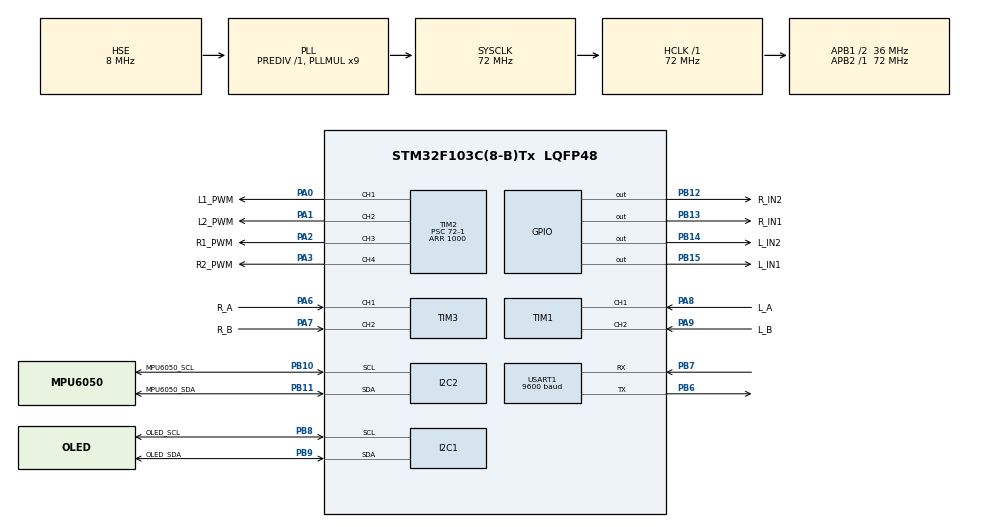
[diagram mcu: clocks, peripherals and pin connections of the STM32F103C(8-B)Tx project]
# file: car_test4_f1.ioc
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Mcu.Family=STM32F1
Mcu.Name=STM32F103C(8-B)Tx
Mcu.Package=LQFP48
NVIC.PriorityGroup=NVIC_PRIORITYGROUP_4
NVIC.TIM4_IRQn=true\:0\:0\:false\:false\:true\:true\:true\:true
NVIC.USART1_IRQn=true\:0\:0\:false\:false\:true\:true\:true\:true
PA0-WKUP.GPIO_Label=L1_PWM
PA0-WKUP.Signal=S_TIM2_CH1_ETR
PA1.GPIO_Label=L2_PWM
PA1.Signal=S_TIM2_CH2
PA13.Mode=Serial_Wire
PA13.Signal=SYS_JTMS-SWDIO
PA14.Mode=Serial_Wire
PA14.Signal=SYS_JTCK-SWCLK
PA2.GPIO_Label=R1_PWM
PA2.Signal=S_TIM2_CH3
PA3.GPIO_Label=R2_PWM
PA3.Signal=S_TIM2_CH4
PA6.GPIO_Label=R_A
PA6.Signal=S_TIM3_CH1
PA7.GPIO_Label=R_B
PA7.Signal=S_TIM3_CH2
PA8.GPIO_Label=L_A
PA8.Signal=S_TIM1_CH1
PA9.GPIO_Label=L_B
PA9.Signal=S_TIM1_CH2
PB10.GPIO_Label=MPU6050_SCL
PB10.Mode=I2C
PB10.Signal=I2C2_SCL
PB11.GPIO_Label=MPU6050_SDA
PB11.Mode=I2C
PB11.Signal=I2C2_SDA
PB12.GPIO_Label=R_IN2
PB12.Signal=GPIO_Output
PB13.GPIO_Label=R_IN1
PB13.Signal=GPIO_Output
PB14.GPIO_Label=L_IN2
PB14.Signal=GPIO_Output
PB15.GPIO_Label=L_IN1
PB15.Signal=GPIO_Output
PB6.Mode=Asynchronous
PB6.Signal=USART1_TX
PB7.Mode=Asynchronous
PB7.Signal=USART1_RX
PB8.GPIO_Label=OLED_SCL
PB8.Mode=I2C
PB8.Signal=I2C1_SCL
PB9.GPIO_Label=OLED_SDA
PB9.Mode=I2C
PB9.Signal=I2C1_SDA
PD0-OSC_IN.Mode=HSE-External-Oscillator
PD0-OSC_IN.Signal=RCC_OSC_IN
PD1-OSC_OUT.Mode=HSE-External-Oscillator
PD1-OSC_OUT.Signal=RCC_OSC_OUT
ProjectManager.HeapSize=0x200
ProjectManager.StackSize=0x400
ProjectManager.TargetToolchain=CMake
RCC.AHBFreq_Value=72000000
RCC.APB1CLKDivider=RCC_HCLK_DIV2
RCC.APB1Freq_Value=36000000
RCC.APB1TimFreq_Value=72000000
RCC.APB2Freq_Value=72000000
RCC.APB2TimFreq_Value=72000000
RCC.HCLKFreq_Value=72000000
RCC.PLLMUL=RCC_PLL_MUL9
RCC.PLLSourceVirtual=RCC_PLLSOURCE_HSE
RCC.SYSCLKFreq_VALUE=72000000
RCC.SYSCLKSource=RCC_SYSCLKSOURCE_PLLCLK
RCC.USBFreq_Value=72000000
SH.S_TIM1_CH1.0=TIM1_CH1,Encoder_Interface
SH.S_TIM1_CH2.0=TIM1_CH2,Encoder_Interface
SH.S_TIM2_CH1_ETR.0=TIM2_CH1,PWM Generation1 CH1
SH.S_TIM2_CH2.0=TIM2_CH2,PWM Generation2 CH2
SH.S_TIM2_CH3.0=TIM2_CH3,PWM Generation3 CH3
SH.S_TIM2_CH4.0=TIM2_CH4,PWM Generation4 CH4
SH.S_TIM3_CH1.0=TIM3_CH1,Encoder_Interface
SH.S_TIM3_CH2.0=TIM3_CH2,Encoder_Interface
TIM1.IC1Filter=15
TIM2.Channel-PWM\ Generation1\ CH1=TIM_CHANNEL_1
TIM2.Channel-PWM\ Generation2\ CH2=TIM_CHANNEL_2
TIM2.Channel-PWM\ Generation3\ CH3=TIM_CHANNEL_3
TIM2.Channel-PWM\ Generation4\ CH4=TIM_CHANNEL_4
TIM2.Period=1000
TIM2.Prescaler=72-1
TIM3.IC1Filter=15
TIM4.Period=10000
TIM4.Prescaler=72-1
USART1.BaudRate=9600
USART1.VirtualMode=VM_ASYNC
VP_TIM2_VS_ClockSourceINT.Mode=Internal
VP_TIM4_VS_ClockSourceINT.Mode=Internal
board=custom

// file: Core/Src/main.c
/* USER CODE BEGIN Header */
/**
  ******************************************************************************
  * @file           : main.c
  * @brief          : Main program body
  ******************************************************************************
  * @attention
  *
  * Copyright (c) 2025 STMicroelectronics.
  * All rights reserved.
  *
  * This software is licensed under terms that can be found in the LICENSE file
  * in the root directory of this software component.
  * If no LICENSE file comes with this software, it is provided AS-IS.
  *
  ******************************************************************************
  */
/* USER CODE END Header */
#include "main.h"
#include "i2c.h"
#include "tim.h"
#include "usart.h"
#include "gpio.h"

/* USER CODE BEGIN Includes */
#include <stdio.h>
#include "Debug.h"
#include "get_speed.h"
#include "motor.h"
#include "pid.h"
#include "MPU6050DMP.h"
#include "oled.h"
/* USER CODE END Includes */

/* USER CODE BEGIN PV */

int left_pwm = 0;
int right_pwm = 0;
int left_target = 100;
int right_target= 100;
int L_actual = 0;
int R_actual = 0;

float pitch,roll,yaw;

float base_speed = 0.0; //正常速度
float target_angle = 0.0;//正常角度
/* USER CODE END PV */

void SystemClock_Config(void);

int main(void)
{

  /* MCU Configuration--------------------------------------------------------*/

  /* Reset of all peripherals, Initializes the Flash interface and the Systick. */
  HAL_Init();

  /* Configure the system clock */
  SystemClock_Config();

  /* Initialize all configured peripherals */
  MX_GPIO_Init();
  MX_I2C1_Init();
  MX_TIM1_Init();
  MX_TIM2_Init();
  MX_TIM3_Init();
  MX_TIM4_Init();
  MX_I2C2_Init();
  MX_USART1_UART_Init();
  /* USER CODE BEGIN 2 */
  //陀螺仪初始化
  int ret;
  do{
    ret=MPU6050_DMP_init();
  }while(ret);

  //打开PWM
  HAL_TIM_PWM_Start(&htim3, TIM_CHANNEL_1);
  HAL_TIM_PWM_Start(&htim3, TIM_CHANNEL_2);
  HAL_TIM_PWM_Start(&htim3, TIM_CHANNEL_3);
  HAL_TIM_PWM_Start(&htim3, TIM_CHANNEL_4);

  //OLED初始化

  HAL_UARTEx_ReceiveToIdle_IT(&huart1, sofa_data, sizeof(sofa_data));
  /* USER CODE END 2 */

  /* Infinite loop */
  /* USER CODE BEGIN WHILE */
  while (1)
  {
    //速度获取
    L_actual = get_speed(&htim1);
    R_actual = get_speed(&htim3);
    MPU6050_DMP_Get_Date(&pitch,&roll,&yaw);
    //角度环
    angle_ring.target = target_angle;
    PID_update(angle_ring);
    speed_ring_l.target = base_speed - angle_ring.out;
    speed_ring_r.target = base_speed + angle_ring.out;
    //速度环
    speed_ring_l.actual = L_actual;
    speed_ring_l.actual = R_actual;
    PID_update(speed_ring_l);
    PID_update(speed_ring_r);
    //控制电机
    Set_Pwml(speed_ring_l.out);
    Set_Pwmr(speed_ring_r.out);
    UART_Printf(&huart1,"%.2f,%.2f,%.2f\r\n",angle_ring.target,angle_ring.actual,angle_ring.out);

    HAL_Delay(10);
    /* USER CODE END WHILE */

  }
}

void SystemClock_Config(void)
{
  RCC_OscInitTypeDef RCC_OscInitStruct = {0};
  RCC_ClkInitTypeDef RCC_ClkInitStruct = {0};

  /** Initializes the RCC Oscillators according to the specified parameters
  * in the RCC_OscInitTypeDef structure.
  */
  RCC_OscInitStruct.OscillatorType = RCC_OSCILLATORTYPE_HSE;
  RCC_OscInitStruct.HSEState = RCC_HSE_ON;
  RCC_OscInitStruct.HSEPredivValue = RCC_HSE_PREDIV_DIV1;
  RCC_OscInitStruct.HSIState = RCC_HSI_ON;
  RCC_OscInitStruct.PLL.PLLState = RCC_PLL_ON;
  RCC_OscInitStruct.PLL.PLLSource = RCC_PLLSOURCE_HSE;
  RCC_OscInitStruct.PLL.PLLMUL = RCC_PLL_MUL9;
  if (HAL_RCC_OscConfig(&RCC_OscInitStruct) != HAL_OK)
  {
    Error_Handler();
  }

  /** Initializes the CPU, AHB and APB buses clocks
  */
  RCC_ClkInitStruct.ClockType = RCC_CLOCKTYPE_HCLK|RCC_CLOCKTYPE_SYSCLK
                              |RCC_CLOCKTYPE_PCLK1|RCC_CLOCKTYPE_PCLK2;
  RCC_ClkInitStruct.SYSCLKSource = RCC_SYSCLKSOURCE_PLLCLK;
  RCC_ClkInitStruct.AHBCLKDivider = RCC_SYSCLK_DIV1;
  RCC_ClkInitStruct.APB1CLKDivider = RCC_HCLK_DIV2;
  RCC_ClkInitStruct.APB2CLKDivider = RCC_HCLK_DIV1;

  if (HAL_RCC_ClockConfig(&RCC_ClkInitStruct, FLASH_LATENCY_2) != HAL_OK)
  {
    Error_Handler();
  }
}

void Error_Handler(void)
{
  __disable_irq();
  while (1)
  {
  }
}
